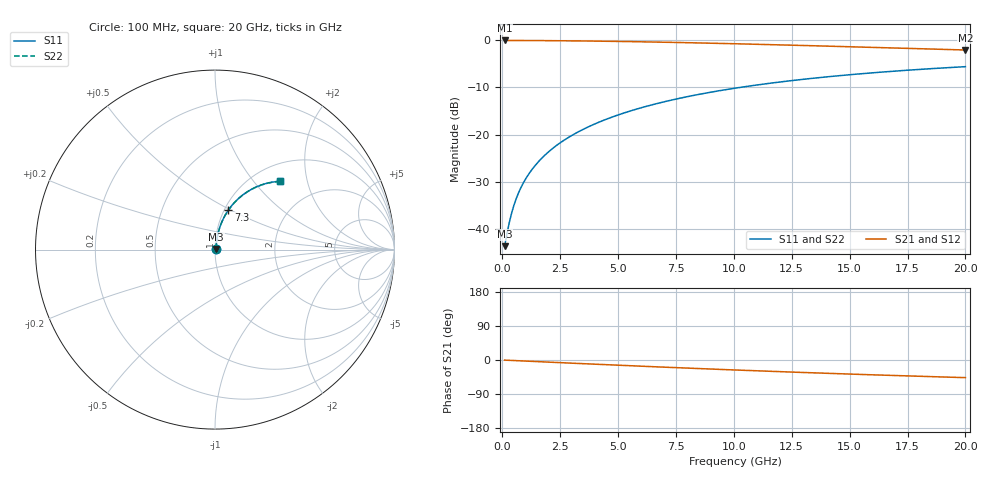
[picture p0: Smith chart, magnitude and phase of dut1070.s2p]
! Touchstone file exported from HFSS 2024.1.0
!  File:  C:/UserFiles/LocalFiles/RDL_TSV_Batchsim/temp_RDL_bottom_1070_1780052744.aedt
!  Generated:  07:08:19 PM May 29, 2026
!  Design:  RDL_bottom
!  Project:  temp_RDL_bottom_1070_1780052744
!  Setup:  Setup1
!  Solution:  Sweep
! Variables:
!  dtsv = 10.80580581um
!  hbump = 3um
!  htsv = 81.22um
!  ldown = 578.98um
!  lrdl = 100um
!  p = 40
!  p1 = 54.65um
!  rhole = 1um
!  t = 450um
!  tdown = 3.04um
!  trdl = 3.915915916um
!  wdown = 11.95um
!  wrdl = 20um
# GHz S MA R 50.000000
! Terminal data exported
! Port[1] = RDL1_T1
! Port[2] = RDL1_T2
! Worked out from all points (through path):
!   200 points, 100 MHz to 20 GHz, reference 50 ohm
!   highest |S21| = -0.05 dB at 100 MHz (marker M1); lowest = -2.1 dB at 20 GHz (marker M2)
!   group delay of S21, straight-line fit = 6.47 ps
!   lowest |S11| = -43.6 dB at 100 MHz (marker M3), VSWR 1.01, Z = 50.6 + j0.343 ohm
!   |S11| at or under -10 dB: start of sweep to 10.24 GHz
!   |S22| runs from -43.6 to -5.6 dB; largest |S21 - S12| = 2e-15
!   S11 on the Smith chart (normalised r, x): 100 MHz: 1.01, +0.01; 7.3 GHz: 1.05, +0.49; 20 GHz: 1.31, +1.38
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0.1  0.006631 30.7  0.9943 -0.3  0.9943 -0.3  0.006631 30.7
! Gamma 0 0 0 0
! Port Impedance 50 0 50 0
0.3  0.01173 59.6  0.9941 -0.9  0.9941 -0.9  0.01173 59.6
0.4  0.01476 65.5  0.9939 -1.1  0.9939 -1.1  0.01476 65.5
0.5  0.01789 69.3  0.9938 -1.4  0.9938 -1.4  0.01789 69.3
0.6  0.02105 71.8  0.9936 -1.7  0.9936 -1.7  0.02105 71.8
0.8  0.02743 75.0  0.9932 -2.3  0.9932 -2.3  0.02743 75.0
1.1  0.03705 77.5  0.9925 -3.1  0.9925 -3.1  0.03705 77.5
1.5  0.04992 79.0  0.9914 -4.2  0.9914 -4.2  0.04992 79.0
1.8  0.0596 79.5  0.9904 -5.1  0.9904 -5.1  0.0596 79.5
2.1  0.06928 79.6  0.9893 -5.9  0.9893 -5.9  0.06928 79.6
2.7  0.08865 79.4  0.9867 -7.5  0.9867 -7.5  0.08864 79.4
3.5  0.1144 78.5  0.9823 -9.7  0.9823 -9.7  0.1144 78.5
4.2  0.1367 77.4  0.9776 -11.6  0.9776 -11.6  0.1367 77.4
5  0.162 75.9  0.9715 -13.8  0.9715 -13.8  0.162 75.9
5.9  0.19 74.2  0.9636 -16.1  0.9636 -16.1  0.19 74.2
6.8  0.2175 72.3  0.9548 -18.4  0.9548 -18.4  0.2175 72.3
7.3  0.2325 71.3  0.9496 -19.7  0.9496 -19.7  0.2325 71.3
8.6  0.2705 68.5  0.9352 -22.9  0.9352 -22.9  0.2705 68.5
10.1  0.3123 65.4  0.9171 -26.5  0.9171 -26.5  0.3122 65.3
13.4  0.3956 58.6  0.8745 -33.8  0.8745 -33.8  0.3954 58.5
16.7  0.4664 52.2  0.8307 -40.5  0.8307 -40.5  0.4662 52.2
20  0.5252 46.4  0.7881 -46.5  0.7881 -46.5  0.5249 46.4
